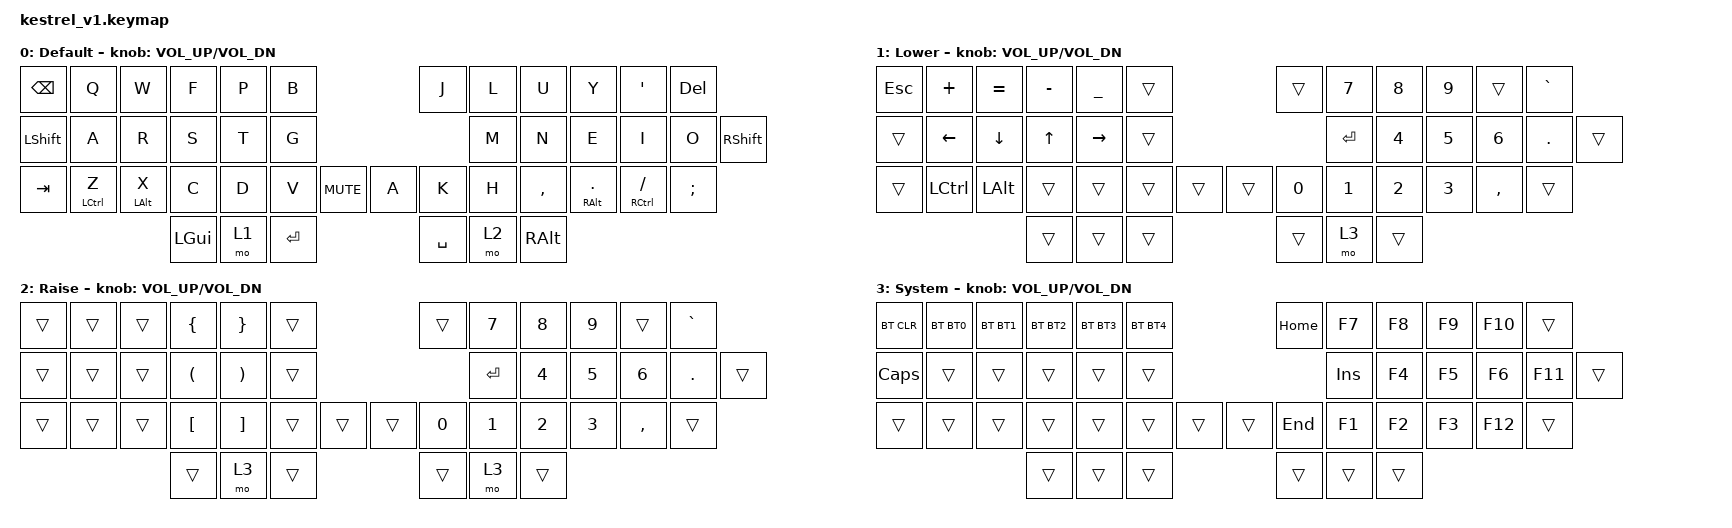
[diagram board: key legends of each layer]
/*
 * Copyright (c) 2020 The ZMK Contributors
 *
 * SPDX-License-Identifier: MIT
 */

#include <behaviors.dtsi>
#include <dt-bindings/zmk/keys.h>
#include <dt-bindings/zmk/bt.h>

#define BT0         BT_SEL 0
#define BT1         BT_SEL 1
#define BT2         BT_SEL 2
#define BT3         BT_SEL 3
#define BT4         BT_SEL 4

/ {
    behaviors {
        pht: positional_hold_tap {
            compatible = "zmk,behavior-hold-tap";
            #binding-cells = <2>;
            flavor = "hold-preferred";
            tapping-term-ms = <200>;
            quick-tap-ms = <200>;
            bindings = <&kp>, <&kp>;
            hold-trigger-key-positions = <1>;    // <---[[the W key]]
        };
    };
    keymap {
        compatible = "zmk,keymap";

        default_layer {
            display-name = " Default";
            bindings = <

// -----------------------------------------------------------------------------------------
// | BKSP |  Q  |  W  |  F  |  P  |  B  |                    |  J  |  L   |  U  |  Y  |  '  | DEL  |
// | SHFT |  A  |  R  |  S  |  T  |  G  |                    |  M  |  N   |  E  |  I  |  O  | SHFT |
// | TAB  |CTL/Z|ALT/X|  C  |  D  |  V  | MUTE |       |     |  K  |  H   |  ,  |ALT/.|CTL//|  ;   |
//                    | GUI | LWR | ENT |                    | SPC | RSE  | ALT |
   &kp BSPC  &kp Q &kp W &kp F &kp P &kp B                      &kp J &kp L  &kp U     &kp Y   &kp SQT  &kp DEL
   &kp LSHFT &kp A &kp R &kp S &kp T &kp G                      &kp M &kp N  &kp E     &kp I   &kp O    &kp RSHFT
   &kp TAB   &mt LCTRL Z &mt LALT X &kp C &kp D &kp V &kp C_MUTE   &kp A   &kp K &kp H  &kp COMMA &mt RALT DOT &mt RCTRL FSLH &kp SEMI
                  &kp LGUI &mo 1 &kp RET                        &kp SPACE &mo 2 &kp RALT
            
            >;
            
            sensor-bindings = <&inc_dec_kp C_VOL_UP C_VOL_DN>;
        };


        lower_layer {
            display-name = " Lower";
            bindings = <

// -----------------------------------------------------------------------------------------
// | ESC |  +   |  =   |  -   |  _   |-----|                    |-----|  7  |  8  |  9  |-----|  `  |
// |-----|  <-  |  dn  |  up  |  ->  |-----|                    | ENT |  4  |  5  |  6  |  .  |-----|
// |-----| CTRL | ALT  | COPY | PSTE |-----|-----|        |-----|  0  |  1  |  2  |  3  |  ,  |-----|
//                     |------|------|-----|                    |-----| SYS |-----|
   &kp ESC &kp PLUS  &kp EQUAL &kp MINUS &kp UNDER &trans               &trans  &kp 7 &kp 8 &kp 9 &trans    &kp GRAVE
   &trans &kp LEFT &kp DOWN &kp UP &kp RIGHT &trans                      &kp RET &kp 4  &kp 5     &kp 6   &kp DOT    &trans
   &trans  &kp LCTRL &kp LALT  &trans    &trans    &trans &trans &trans &kp 0   &kp 1 &kp 2 &kp 3 &kp COMMA &trans
                               &trans    &trans    &trans               &trans  &mo 3 &trans
                
            >;
            
            sensor-bindings = <&inc_dec_kp C_VOL_UP C_VOL_DN>;
        };


        raise_layer {
            display-name = " Raise";
            bindings = <

// -----------------------------------------------------------------------------------------
// |     |     |     |  {  |  }  |     |                       |     |  7  |  8  |  9  |     |  `  |
// |     |     |     |  (  |  )  |     |                       | ENT |  4  |  5  |  6  |  .  |     |
// |     |     |     |  [  |  ]  |     |     |           |     |  0  |  1  |  2  |  3  |  ,  |     |
//                   |     | SYS |     |                       |     | SYS |     |
   &trans &trans &trans &kp LBRC &kp RBRC &trans                    &trans  &kp 7 &kp 8 &kp 9 &trans    &kp GRAVE
   &trans &trans &trans &kp LPAR &kp RPAR &trans                    &kp RET &kp 4 &kp 5 &kp 6 &kp DOT   &trans
   &trans &trans &trans &kp LBKT &kp RBKT &trans &trans      &trans &kp 0   &kp 1 &kp 2 &kp 3 &kp COMMA &trans
                        &trans   &mo 3    &trans                    &trans  &mo 3 &trans
                    
            >;

            sensor-bindings = <&inc_dec_kp C_VOL_UP C_VOL_DN>;
        };


        system_layer {
            display-name = " System";
            bindings = <

// -----------------------------------------------------------------------------------------
// |BTCLR| BT0 | BT1 | BT2 | BT3 | BT4 |                    |HOME | F7  | F8  | F9  | F10 |     |
// |CAPSL|     |     |     |     |     |                    | INS | F4  | F5  | F6  | F11 |CAPSW|
// |     |     |     |     |     |     |     |        |     | END | F1  | F2  | F3  | F12 |     |
//                   |     |     |     |                    |     |     |     |
   &bt BT_CLR &bt BT0 &bt BT1 &bt BT2 &bt BT3 &bt BT4                             &kp HOME  &kp F7  &kp F8  &kp F9  &kp F10  &trans
   &kp CAPS   &trans       &trans       &trans       &trans       &trans                                   &kp INS   &kp F4  &kp F5  &kp F6  &kp F11  &trans
   &trans     &trans       &trans       &trans       &trans       &trans        &trans           &trans    &kp END   &kp F1  &kp F2  &kp F3  &kp F12  &trans
                                        &trans       &trans       &trans                                   &trans    &trans  &trans
                
            >;
            
            sensor-bindings = <&inc_dec_kp C_VOL_UP C_VOL_DN>;
        };
    };
};
